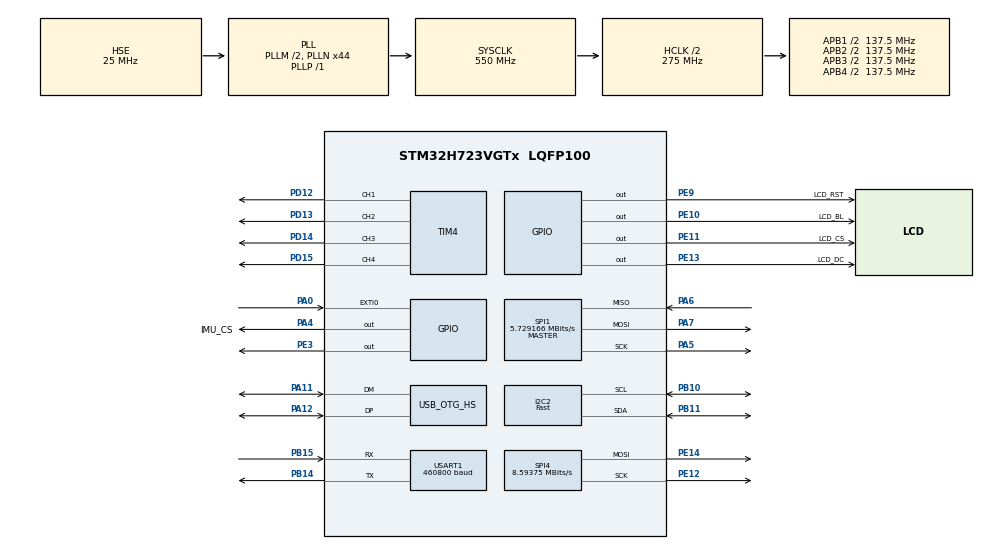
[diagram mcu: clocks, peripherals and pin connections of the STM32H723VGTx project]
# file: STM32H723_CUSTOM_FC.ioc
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CORTEX_M7.default_mode_Activation=1
Dma.Request0=SPI1_RX
Dma.Request1=SPI1_TX
Dma.Request2=USART1_RX
Dma.SPI1_RX.0.Direction=DMA_PERIPH_TO_MEMORY
Dma.SPI1_RX.0.EventEnable=DISABLE
Dma.SPI1_RX.0.FIFOMode=DMA_FIFOMODE_DISABLE
Dma.SPI1_RX.0.Instance=DMA1_Stream0
Dma.SPI1_RX.0.MemDataAlignment=DMA_MDATAALIGN_BYTE
Dma.SPI1_RX.0.MemInc=DMA_MINC_ENABLE
Dma.SPI1_RX.0.Mode=DMA_NORMAL
Dma.SPI1_RX.0.PeriphDataAlignment=DMA_PDATAALIGN_BYTE
Dma.SPI1_RX.0.PeriphInc=DMA_PINC_DISABLE
Dma.SPI1_RX.0.Polarity=HAL_DMAMUX_REQ_GEN_RISING
Dma.SPI1_RX.0.Priority=DMA_PRIORITY_VERY_HIGH
Dma.SPI1_RX.0.RequestNumber=1
Dma.SPI1_RX.0.SignalID=NONE
Dma.SPI1_RX.0.SyncEnable=DISABLE
Dma.SPI1_RX.0.SyncPolarity=HAL_DMAMUX_SYNC_NO_EVENT
Dma.SPI1_RX.0.SyncRequestNumber=1
Dma.SPI1_RX.0.SyncSignalID=NONE
Dma.SPI1_TX.1.Direction=DMA_MEMORY_TO_PERIPH
Dma.SPI1_TX.1.EventEnable=DISABLE
Dma.SPI1_TX.1.FIFOMode=DMA_FIFOMODE_DISABLE
Dma.SPI1_TX.1.Instance=DMA1_Stream1
Dma.SPI1_TX.1.MemDataAlignment=DMA_MDATAALIGN_BYTE
Dma.SPI1_TX.1.MemInc=DMA_MINC_ENABLE
Dma.SPI1_TX.1.Mode=DMA_NORMAL
Dma.SPI1_TX.1.PeriphDataAlignment=DMA_PDATAALIGN_BYTE
Dma.SPI1_TX.1.PeriphInc=DMA_PINC_DISABLE
Dma.SPI1_TX.1.Polarity=HAL_DMAMUX_REQ_GEN_RISING
Dma.SPI1_TX.1.Priority=DMA_PRIORITY_VERY_HIGH
Dma.SPI1_TX.1.RequestNumber=1
Dma.SPI1_TX.1.SignalID=NONE
Dma.SPI1_TX.1.SyncEnable=DISABLE
Dma.SPI1_TX.1.SyncPolarity=HAL_DMAMUX_SYNC_NO_EVENT
Dma.SPI1_TX.1.SyncRequestNumber=1
Dma.SPI1_TX.1.SyncSignalID=NONE
Dma.USART1_RX.2.Direction=DMA_PERIPH_TO_MEMORY
Dma.USART1_RX.2.EventEnable=DISABLE
Dma.USART1_RX.2.FIFOMode=DMA_FIFOMODE_DISABLE
Dma.USART1_RX.2.Instance=DMA1_Stream2
Dma.USART1_RX.2.MemDataAlignment=DMA_MDATAALIGN_BYTE
Dma.USART1_RX.2.MemInc=DMA_MINC_ENABLE
Dma.USART1_RX.2.Mode=DMA_CIRCULAR
Dma.USART1_RX.2.PeriphDataAlignment=DMA_PDATAALIGN_BYTE
Dma.USART1_RX.2.PeriphInc=DMA_PINC_DISABLE
Dma.USART1_RX.2.Polarity=HAL_DMAMUX_REQ_GEN_RISING
Dma.USART1_RX.2.Priority=DMA_PRIORITY_HIGH
Dma.USART1_RX.2.RequestNumber=1
Dma.USART1_RX.2.SignalID=NONE
Dma.USART1_RX.2.SyncEnable=DISABLE
Dma.USART1_RX.2.SyncPolarity=HAL_DMAMUX_SYNC_NO_EVENT
Dma.USART1_RX.2.SyncRequestNumber=1
Dma.USART1_RX.2.SyncSignalID=NONE
I2C2.I2C_Speed_Mode=I2C_Fast
I2C2.Timing=0x00D049FB
Mcu.Family=STM32H7
Mcu.Name=STM32H723VGTx
Mcu.Package=LQFP100
NVIC.DMA1_Stream0_IRQn=true\:0\:0\:false\:false\:true\:false\:true\:true
NVIC.DMA1_Stream1_IRQn=true\:0\:0\:false\:false\:true\:false\:true\:true
NVIC.DMA1_Stream2_IRQn=true\:0\:0\:false\:false\:true\:false\:true\:true
NVIC.EXTI0_IRQn=true\:0\:0\:false\:false\:true\:true\:true\:true
NVIC.OTG_HS_IRQn=true\:0\:0\:false\:false\:true\:false\:true\:true
NVIC.PriorityGroup=NVIC_PRIORITYGROUP_4
NVIC.SPI1_IRQn=true\:0\:0\:false\:false\:true\:false\:true\:true
NVIC.USART1_IRQn=true\:0\:0\:false\:false\:true\:true\:true\:true
PA0.Signal=GPXTI0
PA11.Mode=Device_Only_FS
PA11.Signal=USB_OTG_HS_DM
PA12.Mode=Device_Only_FS
PA12.Signal=USB_OTG_HS_DP
PA4.GPIO_Label=IMU_CS
PA4.Signal=GPIO_Output
PA5.Mode=Full_Duplex_Master
PA5.Signal=SPI1_SCK
PA6.Mode=Full_Duplex_Master
PA6.Signal=SPI1_MISO
PA7.Mode=Full_Duplex_Master
PA7.Signal=SPI1_MOSI
PB10.Mode=I2C
PB10.Signal=I2C2_SCL
PB11.Mode=I2C
PB11.Signal=I2C2_SDA
PB14.Mode=Asynchronous
PB14.Signal=USART1_TX
PB15.Mode=Asynchronous
PB15.Signal=USART1_RX
PD12.Signal=S_TIM4_CH1
PD13.Signal=S_TIM4_CH2
PD14.Signal=S_TIM4_CH3
PD15.Signal=S_TIM4_CH4
PE10.GPIO_Label=LCD_BL
PE10.Signal=GPIO_Output
PE11.GPIO_Label=LCD_CS
PE11.Signal=GPIO_Output
PE12.Mode=TX_Only_Simplex_Unidirect_Master
PE12.Signal=SPI4_SCK
PE13.GPIO_Label=LCD_DC
PE13.Signal=GPIO_Output
PE14.Mode=TX_Only_Simplex_Unidirect_Master
PE14.Signal=SPI4_MOSI
PE3.Signal=GPIO_Output
PE9.GPIO_Label=LCD_RST
PE9.Signal=GPIO_Output
PH0-OSC_IN.Mode=HSE-External-Oscillator
PH0-OSC_IN.Signal=RCC_OSC_IN
PH1-OSC_OUT.Mode=HSE-External-Oscillator
PH1-OSC_OUT.Signal=RCC_OSC_OUT
ProjectManager.HeapSize=0x1000
ProjectManager.StackSize=0x1000
ProjectManager.TargetToolchain=STM32CubeIDE
RCC.ADCFreq_Value=50390625
RCC.APB1Freq_Value=137500000
RCC.APB2Freq_Value=137500000
RCC.APB3Freq_Value=137500000
RCC.APB4Freq_Value=137500000
RCC.CortexFreq_Value=550000000
RCC.D1PPRE=RCC_APB3_DIV2
RCC.D2PPRE1=RCC_APB1_DIV2
RCC.D2PPRE2=RCC_APB2_DIV2
RCC.D3PPRE=RCC_APB4_DIV2
RCC.DIVM1=2
RCC.DIVM3=5
RCC.DIVN1=44
RCC.DIVN3=96
RCC.DIVP1=1
RCC.DIVQ1=3
RCC.DIVQ3=10
RCC.DIVR3=10
RCC.HCLKFreq_Value=275000000
RCC.HPRE=RCC_HCLK_DIV2
RCC.PLL2FRACN=0
RCC.PLL3FRACN=0
RCC.PLLFRACN=0
RCC.PLLSourceVirtual=RCC_PLLSOURCE_HSE
RCC.SYSCLKFreq_VALUE=550000000
RCC.SYSCLKSource=RCC_SYSCLKSOURCE_PLLCLK
RCC.USBCLockSelection=RCC_USBCLKSOURCE_PLL3
RCC.USBFreq_Value=48000000
SH.S_TIM4_CH1.0=TIM4_CH1,PWM Generation1 CH1
SH.S_TIM4_CH2.0=TIM4_CH2,PWM Generation2 CH2
SH.S_TIM4_CH3.0=TIM4_CH3,PWM Generation3 CH3
SH.S_TIM4_CH4.0=TIM4_CH4,PWM Generation4 CH4
SPI1.BaudRatePrescaler=SPI_BAUDRATEPRESCALER_32
SPI1.CLKPhase=SPI_PHASE_2EDGE
SPI1.CLKPolarity=SPI_POLARITY_HIGH
SPI1.CalculateBaudRate=5.729166 MBits/s
SPI1.DataSize=SPI_DATASIZE_8BIT
SPI1.Direction=SPI_DIRECTION_2LINES
SPI1.Mode=SPI_MODE_MASTER
SPI1.VirtualType=VM_MASTER
SPI4.BaudRatePrescaler=SPI_BAUDRATEPRESCALER_16
SPI4.CalculateBaudRate=8.59375 MBits/s
SPI4.DataSize=SPI_DATASIZE_8BIT
SPI4.Direction=SPI_DIRECTION_2LINES_TXONLY
SPI4.Mode=SPI_MODE_MASTER
SPI4.VirtualType=VM_MASTER
TIM4.Channel-PWM\ Generation1\ CH1=TIM_CHANNEL_1
TIM4.Channel-PWM\ Generation2\ CH2=TIM_CHANNEL_2
TIM4.Channel-PWM\ Generation3\ CH3=TIM_CHANNEL_3
TIM4.Channel-PWM\ Generation4\ CH4=TIM_CHANNEL_4
USART1.BaudRate=460800
USART1.VirtualMode-Asynchronous=VM_ASYNC
USB_DEVICE.CLASS_NAME_HS=CDC
USB_DEVICE.VirtualMode=Cdc
USB_DEVICE.VirtualModeHS=Cdc_HS
USB_OTG_HS.VirtualMode-Device_Only_FS=Device_Only_FS
VP_MEMORYMAP_VS_MEMORYMAP.Mode=CurAppReg
VP_TIM4_VS_ClockSourceINT.Mode=Internal
VP_USB_DEVICE_VS_USB_DEVICE_CDC_HS.Mode=CDC_HS
board=custom

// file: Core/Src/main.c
/* USER CODE BEGIN Header */
/**
  ******************************************************************************
  * @file           : main.c
  * @brief          : Main program body
  ******************************************************************************
  * @attention
  *
  * Copyright (c) 2026 STMicroelectronics.
  * All rights reserved.
  *
  * This software is licensed under terms that can be found in the LICENSE file
  * in the root directory of this software component.
  * If no LICENSE file comes with this software, it is provided AS-IS.
  *
  ******************************************************************************
  */
/* USER CODE END Header */
#include "main.h"
#include "dma.h"
#include "i2c.h"
#include "spi.h"
#include "tim.h"
#include "usart.h"
#include "usb_device.h"
#include "gpio.h"

/* USER CODE BEGIN Includes */
#include "bf_sensor_lsm6dso.h"
#include "bf_pid.h"
#include "bf_mixer.h"
#include "bf_rc_link.h"
#include "bf_dshot.h"
#include "bf_display.h"
#include <stdio.h>
#include <string.h>
#include "usbd_cdc_if.h" // Generated via CubeMX
/* USER CODE END Includes */

/* USER CODE BEGIN PV */
pidController_t pid_engine;
imuData_t imuData;
motorMixer_t motorOutputs;
bool isImuReady = false;

uint32_t lastDisplayUpdate = 0;
/* USER CODE END PV */

void SystemClock_Config(void);
static void MPU_Config(void);

/* USER CODE BEGIN 0 */
// Debug variables to capture sensor responses
volatile uint8_t imu_who_am_i = 0;
volatile HAL_StatusTypeDef baro_ready = HAL_ERROR;
volatile HAL_StatusTypeDef mag_ready = HAL_ERROR;

extern SPI_HandleTypeDef hspi1;
extern SPI_HandleTypeDef hspi4;
extern UART_HandleTypeDef huart1;
/* USER CODE END 0 */

int main(void)
{

  /* MPU Configuration--------------------------------------------------------*/
  MPU_Config();

  /* MCU Configuration--------------------------------------------------------*/

  /* Reset of all peripherals, Initializes the Flash interface and the Systick. */
  HAL_Init();

  /* Configure the system clock */
  SystemClock_Config();

  /* USER CODE BEGIN SysInit */
  // (Left intentionally blank after purging USB)
  /* USER CODE END SysInit */

  /* Initialize all configured peripherals */
  MX_GPIO_Init();
  MX_DMA_Init();
  MX_SPI4_Init();
  MX_I2C2_Init();
  MX_USART1_UART_Init();
  MX_TIM4_Init();
  MX_SPI1_Init();
  MX_USB_DEVICE_Init();
  /* USER CODE BEGIN 2 */
  // 0. FORCIBLY CLAIM `PE3` AS OUPUT FOR VISUAL HEARTBEAT DIAGNOSTICS!
  __HAL_RCC_GPIOE_CLK_ENABLE();
  GPIO_InitTypeDef led_gpio = {0};
  led_gpio.Pin = GPIO_PIN_3;
  led_gpio.Mode = GPIO_MODE_OUTPUT_PP;
  led_gpio.Pull = GPIO_NOPULL;
  led_gpio.Speed = GPIO_SPEED_FREQ_LOW;
  HAL_GPIO_Init(GPIOE, &led_gpio);

  // 0.5. PERMANENT K1 BUTTON BINDING (PC13 Active-High)
  __HAL_RCC_GPIOC_CLK_ENABLE();
  GPIO_InitTypeDef k1_gpio = {0};
  k1_gpio.Pin = GPIO_PIN_13;
  k1_gpio.Mode = GPIO_MODE_INPUT;
  k1_gpio.Pull = GPIO_PULLDOWN; // Active-High logic detected!
  HAL_GPIO_Init(GPIOC, &k1_gpio);

  // 1. Initialize Onboard TFT Display (FIRST priority)
  displayInit();

  // 2. BOOT SEQUENCE & PRE-ARM CHECKS
  // Ensure physical sensors and RC link are established before proceeding
  LCD_Fill(0, 0, 160, 80, 0x0000);
  LCD_Print(10, 10, "BOOTING UP...", 0xFFE0); // Yellow

  // Wait for IMU to initialize
  while (!lsm6dso_Init()) {
      LCD_Print(10, 30, "IMU: OFFLINE", 0xF800); // Red
      HAL_Delay(500);
  }
  isImuReady = true;
  LCD_Print(10, 30, "IMU: OK     ", 0x07E0); // Green

  /*
  uint8_t spi_tx[2] = {0x0F | 0x80, 0x00};
  uint8_t spi_rx[2] = {0};
  HAL_GPIO_WritePin(IMU_CS_GPIO_Port, IMU_CS_Pin, GPIO_PIN_RESET);
  HAL_SPI_TransmitReceive(&hspi1, spi_tx, spi_rx, 2, 100);
  HAL_GPIO_WritePin(IMU_CS_GPIO_Port, IMU_CS_Pin, GPIO_PIN_SET);
  imu_who_am_i = spi_rx[1];
  */

  // 3. Initialize Betaflight Core Engine (dT = 0.000125 for 8kHz pseudo-loop)
  pidInit(&pid_engine, 0.000125f);

  // Set "Soft" PID Gains for HITL Simulation Stability (Restored Ki!)
  for(int i=0; i<3; i++) {
      pid_engine.gains[i].Kp = 4.0f;
      pid_engine.gains[i].Ki = 2.0f;
      pid_engine.gains[i].Kd = 0.0f;
      pid_engine.gains[i].Kf = 10.0f;
  }

  mixerInit();

  // 4. Mount Sensors
  // (IMU successfully initialized in Boot Sequence)

  // 5. Start RC Link Control Stream (High-Speed DMA UART)
  rcLink_Init();

  // 6. Start the DShot600 QuadX TIM1 DMA Esc Output Streams
  dshot_Init();

  // 7. Wait for Remote Controller (RC Link)
  rcData_t *boot_rc = rcLink_GetData();
  while(boot_rc->packetCount == 0) {
      rcLink_Update();
      LCD_Print(10, 50, "RC : WAITING", 0xF800);
      HAL_Delay(100);
  }
  LCD_Print(10, 50, "RC : OK     ", 0x07E0);
  HAL_Delay(1000); // Hold success screen
  LCD_Fill(0, 0, 160, 80, 0x0000); // Clear screen for main loop
  /* USER CODE END 2 */

  /* Infinite loop */
  while (1)
  {

    /* USER CODE BEGIN 3 */
    // 1. Process incoming ESP32 RC Stick packets via DMA Ring Buffer asynchronously
    rcLink_Update();
    rcData_t *rc = rcLink_GetData();
    bool isArmed = (rc->aux1 > 1500); // REMOTE ARMING FLAG

    // 2. HARDWARE PID LOOP EXECUTION
    if (isImuReady) {
        // --- 2.1. IMU SENSOR SYNC ---
        // Read physical hardware sensors
        lsm6dso_Read(&imuData);

        // --- 2.2. PID CALCULATIONS & MOTOR MIXING ---
        if (isArmed) {
            // Standard RC Range (1000 - 2000)
            float rollSetpoint  = (rc->roll - 1500) * 0.5f;
            float pitchSetpoint = (rc->pitch - 1500) * 0.5f;
            float yawSetpoint   = -(rc->yaw - 1500) * 0.5f;
            float throttleInput = (rc->throttle - 1000); // 0.0 to 1000.0

            pidApply(&pid_engine, ROLL,  imuData.gyro.x, rollSetpoint);
            pidApply(&pid_engine, PITCH, imuData.gyro.y, pitchSetpoint);
            pidApply(&pid_engine, YAW,   imuData.gyro.z, yawSetpoint);

            mixQuadX(&pid_engine, throttleInput, &motorOutputs);
        } else {
            // FORCE IDLE IF DISARMED
            for(int i=0; i<4; i++) motorOutputs.motor[i] = 0;
        }

        // dshot_Write(&motorOutputs); // ESC output is blocked for safe bench-testing
    }

    // 3. LCD TELEMETRY TICK (10Hz) & HEARTBEAT (1Hz)
    uint32_t ticks = HAL_GetTick();
    static uint32_t lastDisplayUpdate = 0;
    static uint32_t lastHeartbeat = 0;

    // 3.1. K1 BUTTON POLLING (PC13 Active-High)
    static uint32_t lastButtonPress = 0;
    if (HAL_GPIO_ReadPin(GPIOC, GPIO_PIN_13) == GPIO_PIN_SET) { // 1 = Pressed!
        if (ticks - lastButtonPress > 200) { // Debounce
            displayNextPage();
            lastButtonPress = ticks;
        }
    }

    // 3.2. Update Display & Telemetry at 10Hz
    if (ticks - lastDisplayUpdate > 100) {
        // Broadcast Consolidated HITL Data (Motors + Telemetry)
        uint16_t motors[4] = {
            (uint16_t)(motorOutputs.motor[0] + 1000),
            (uint16_t)(motorOutputs.motor[1] + 1000),
            (uint16_t)(motorOutputs.motor[2] + 1000),
            (uint16_t)(motorOutputs.motor[3] + 1000)
        };
        rcLink_SendHITL(motors, 1000, 1260); // Motors, Altitude, Battery

        displayUpdate();
        lastDisplayUpdate = ticks;
    }

    // Heartbeat Pulse
    if (ticks - lastHeartbeat > 500) {
        HAL_GPIO_TogglePin(GPIOE, GPIO_PIN_3);
        lastHeartbeat = ticks;

        // --- USB CDC TELEMETRY OUTPUT ---
        char usbBuf[128];
        sprintf(usbBuf, "IMU[%.2f, %.2f, %.2f] | RC_PKTS: %lu | ARMED: %d\r\n",
                imuData.gyro.x, imuData.gyro.y, imuData.gyro.z,
                rc->packetCount, isArmed);
        CDC_Transmit_HS((uint8_t*)usbBuf, strlen(usbBuf));
    }

    // (HAL_Delay is removed to allow max-frequency PID processing for HITL!)
  }
  /* USER CODE END 3 */
}

void SystemClock_Config(void)
{
  RCC_OscInitTypeDef RCC_OscInitStruct = {0};
  RCC_ClkInitTypeDef RCC_ClkInitStruct = {0};

  /** Supply configuration update enable
  */
  HAL_PWREx_ConfigSupply(PWR_LDO_SUPPLY);

  /** Configure the main internal regulator output voltage
  */
  __HAL_PWR_VOLTAGESCALING_CONFIG(PWR_REGULATOR_VOLTAGE_SCALE0);

  while(!__HAL_PWR_GET_FLAG(PWR_FLAG_VOSRDY)) {}

  /** Initializes the RCC Oscillators according to the specified parameters
  * in the RCC_OscInitTypeDef structure.
  */
  RCC_OscInitStruct.OscillatorType = RCC_OSCILLATORTYPE_HSE;
  RCC_OscInitStruct.HSEState = RCC_HSE_ON;
  RCC_OscInitStruct.PLL.PLLState = RCC_PLL_ON;
  RCC_OscInitStruct.PLL.PLLSource = RCC_PLLSOURCE_HSE;
  RCC_OscInitStruct.PLL.PLLM = 2;
  RCC_OscInitStruct.PLL.PLLN = 44;
  RCC_OscInitStruct.PLL.PLLP = 1;
  RCC_OscInitStruct.PLL.PLLQ = 3;
  RCC_OscInitStruct.PLL.PLLR = 2;
  RCC_OscInitStruct.PLL.PLLRGE = RCC_PLL1VCIRANGE_3;
  RCC_OscInitStruct.PLL.PLLVCOSEL = RCC_PLL1VCOWIDE;
  RCC_OscInitStruct.PLL.PLLFRACN = 0;
  if (HAL_RCC_OscConfig(&RCC_OscInitStruct) != HAL_OK)
  {
    Error_Handler();
  }

  /** Initializes the CPU, AHB and APB buses clocks
  */
  RCC_ClkInitStruct.ClockType = RCC_CLOCKTYPE_HCLK|RCC_CLOCKTYPE_SYSCLK
                              |RCC_CLOCKTYPE_PCLK1|RCC_CLOCKTYPE_PCLK2
                              |RCC_CLOCKTYPE_D3PCLK1|RCC_CLOCKTYPE_D1PCLK1;
  RCC_ClkInitStruct.SYSCLKSource = RCC_SYSCLKSOURCE_PLLCLK;
  RCC_ClkInitStruct.SYSCLKDivider = RCC_SYSCLK_DIV1;
  RCC_ClkInitStruct.AHBCLKDivider = RCC_HCLK_DIV2;
  RCC_ClkInitStruct.APB3CLKDivider = RCC_APB3_DIV2;
  RCC_ClkInitStruct.APB1CLKDivider = RCC_APB1_DIV2;
  RCC_ClkInitStruct.APB2CLKDivider = RCC_APB2_DIV2;
  RCC_ClkInitStruct.APB4CLKDivider = RCC_APB4_DIV2;

  if (HAL_RCC_ClockConfig(&RCC_ClkInitStruct, FLASH_LATENCY_3) != HAL_OK)
  {
    Error_Handler();
  }
}

/* USER CODE BEGIN 4 */
void HAL_GPIO_EXTI_Callback(uint16_t GPIO_Pin) {
    if (GPIO_Pin == GPIO_PIN_0) { // K1 Key (PA0)
        HAL_GPIO_TogglePin(GPIOE, GPIO_PIN_3); // Visual confirmation of IRQ firing!
        displayNextPage();
    }
}
/* USER CODE END 4 */

 /* MPU Configuration */

void MPU_Config(void)
{
  MPU_Region_InitTypeDef MPU_InitStruct = {0};

  /* Disables the MPU */
  HAL_MPU_Disable();

  /** Initializes and configures the Region and the memory to be protected
  */
  MPU_InitStruct.Enable = MPU_REGION_ENABLE;
  MPU_InitStruct.Number = MPU_REGION_NUMBER0;
  MPU_InitStruct.BaseAddress = 0x0;
  MPU_InitStruct.Size = MPU_REGION_SIZE_4GB;
  MPU_InitStruct.SubRegionDisable = 0x87;
  MPU_InitStruct.TypeExtField = MPU_TEX_LEVEL0;
  MPU_InitStruct.AccessPermission = MPU_REGION_NO_ACCESS;
  MPU_InitStruct.DisableExec = MPU_INSTRUCTION_ACCESS_DISABLE;
  MPU_InitStruct.IsShareable = MPU_ACCESS_SHAREABLE;
  MPU_InitStruct.IsCacheable = MPU_ACCESS_NOT_CACHEABLE;
  MPU_InitStruct.IsBufferable = MPU_ACCESS_NOT_BUFFERABLE;

  HAL_MPU_ConfigRegion(&MPU_InitStruct);
  /* Enables the MPU */
  HAL_MPU_Enable(MPU_PRIVILEGED_DEFAULT);

}

void Error_Handler(void)
{
  /* USER CODE BEGIN Error_Handler_Debug */
  __disable_irq();

  // Force PE3 to flash angrily if the board suffers a deadly fault!
  __HAL_RCC_GPIOE_CLK_ENABLE();
  GPIO_InitTypeDef err_led = {0};
  err_led.Pin = GPIO_PIN_3;
  err_led.Mode = GPIO_MODE_OUTPUT_PP;
  err_led.Speed = GPIO_SPEED_FREQ_LOW;
  HAL_GPIO_Init(GPIOE, &err_led);

  while (1)
  {
      HAL_GPIO_TogglePin(GPIOE, GPIO_PIN_3);
      for(volatile int i=0; i<300000; i++); // Fast strobe block
  }
  /* USER CODE END Error_Handler_Debug */
}
